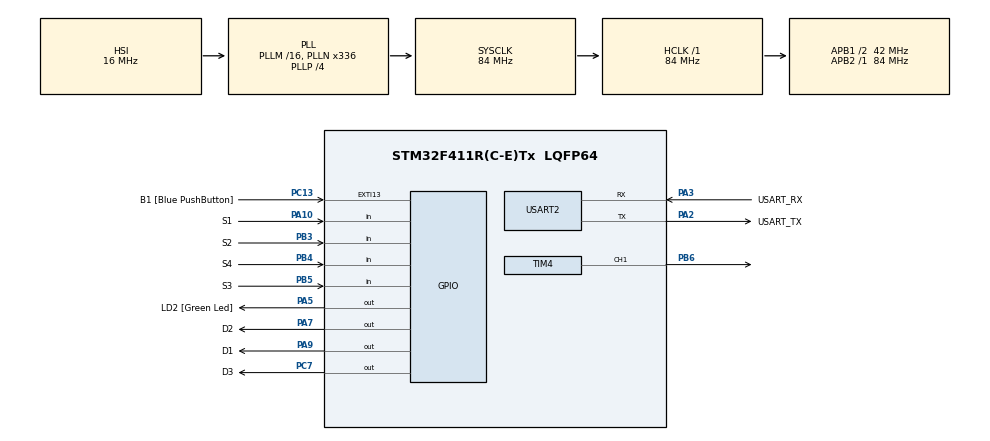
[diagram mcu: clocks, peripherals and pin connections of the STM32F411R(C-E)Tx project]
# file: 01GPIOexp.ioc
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Dma.Request0=TIM4_CH1
Dma.TIM4_CH1.0.Direction=DMA_MEMORY_TO_PERIPH
Dma.TIM4_CH1.0.FIFOMode=DMA_FIFOMODE_DISABLE
Dma.TIM4_CH1.0.Instance=DMA1_Stream0
Dma.TIM4_CH1.0.MemDataAlignment=DMA_MDATAALIGN_HALFWORD
Dma.TIM4_CH1.0.MemInc=DMA_MINC_ENABLE
Dma.TIM4_CH1.0.Mode=DMA_NORMAL
Dma.TIM4_CH1.0.PeriphDataAlignment=DMA_PDATAALIGN_HALFWORD
Dma.TIM4_CH1.0.PeriphInc=DMA_PINC_DISABLE
Dma.TIM4_CH1.0.Priority=DMA_PRIORITY_LOW
Mcu.Family=STM32F4
Mcu.Name=STM32F411R(C-E)Tx
Mcu.Package=LQFP64
NVIC.DMA1_Stream0_IRQn=true\:0\:0\:false\:false\:true\:false\:true
NVIC.PriorityGroup=NVIC_PRIORITYGROUP_0
PA10.GPIO_Label=S1
PA10.Signal=GPIO_Input
PA13.GPIO_Label=TMS
PA13.Mode=Serial_Wire
PA13.Signal=SYS_JTMS-SWDIO
PA14.GPIO_Label=TCK
PA14.Mode=Serial_Wire
PA14.Signal=SYS_JTCK-SWCLK
PA2.GPIO_Label=USART_TX
PA2.Mode=Asynchronous
PA2.Signal=USART2_TX
PA3.GPIO_Label=USART_RX
PA3.Mode=Asynchronous
PA3.Signal=USART2_RX
PA5.GPIO_Label=LD2 [Green Led]
PA5.Signal=GPIO_Output
PA7.GPIO_Label=D2
PA7.Signal=GPIO_Output
PA9.GPIO_Label=D1
PA9.Signal=GPIO_Output
PB3.GPIO_Label=S2
PB3.Signal=GPIO_Input
PB4.GPIO_Label=S4
PB4.Signal=GPIO_Input
PB5.GPIO_Label=S3
PB5.Signal=GPIO_Input
PB6.Signal=S_TIM4_CH1
PC13-ANTI_TAMP.GPIO_Label=B1 [Blue PushButton]
PC13-ANTI_TAMP.GPIO_ModeDefaultEXTI=GPIO_MODE_IT_FALLING
PC13-ANTI_TAMP.Signal=GPXTI13
PC14-OSC32_IN.Mode=LSE-External-Oscillator
PC14-OSC32_IN.Signal=RCC_OSC32_IN
PC15-OSC32_OUT.Mode=LSE-External-Oscillator
PC15-OSC32_OUT.Signal=RCC_OSC32_OUT
PC7.GPIO_Label=D3
PC7.Signal=GPIO_Output
PH0\ -\ OSC_IN.Mode=HSE-External-Clock-Source
PH0\ -\ OSC_IN.Signal=RCC_OSC_IN
PH1\ -\ OSC_OUT.Mode=HSE-External-Clock-Source
PH1\ -\ OSC_OUT.Signal=RCC_OSC_OUT
ProjectManager.HeapSize=0x200
ProjectManager.StackSize=0x400
ProjectManager.TargetToolchain=STM32CubeIDE
RCC.48MHZClocksFreq_Value=84000000
RCC.AHBFreq_Value=84000000
RCC.APB1CLKDivider=RCC_HCLK_DIV2
RCC.APB1Freq_Value=42000000
RCC.APB1TimFreq_Value=84000000
RCC.APB2Freq_Value=84000000
RCC.APB2TimFreq_Value=84000000
RCC.CortexFreq_Value=84000000
RCC.FLatency-AdvancedSettings=FLASH_LATENCY_2
RCC.HCLKFreq_Value=84000000
RCC.HSE_VALUE=8000000
RCC.HSI_VALUE=16000000
RCC.PLLN=336
RCC.PLLP=RCC_PLLP_DIV4
RCC.SYSCLKFreq_VALUE=84000000
RCC.SYSCLKSource=RCC_SYSCLKSOURCE_PLLCLK
RCC.VCOOutputFreq_Value=336000000
SH.S_TIM4_CH1.0=TIM4_CH1,PWM Generation1 CH1
TIM4.Channel-PWM\ Generation1\ CH1=TIM_CHANNEL_1
TIM4.Period=100-1
TIM4.Prescaler=72-1
USART2.VirtualMode=VM_ASYNC
VP_TIM4_VS_ClockSourceINT.Mode=Internal
board=NUCLEO-F411RE

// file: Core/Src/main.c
/* USER CODE BEGIN Header */
/**
 ******************************************************************************
 * @file           : main.c
 * @brief          : Main program body
 ******************************************************************************
 * @attention
 *
 * Copyright (c) 2022 STMicroelectronics.
 * All rights reserved.
 *
 * This software is licensed under terms that can be found in the LICENSE file
 * in the root directory of this software component.
 * If no LICENSE file comes with this software, it is provided AS-IS.
 *
 ******************************************************************************
 */
/* USER CODE END Header */
#include "main.h"

/* USER CODE BEGIN PTD */
GPIO_PinState B1state[2][4];

static int delay[4] = { 2000, 500, 500 };
static int logic2 = 0;
static int logic3 = 0;
static int count3 = 0;
static int count4 = 0;
static int pwm=100;
/* USER CODE END PTD */

TIM_HandleTypeDef htim4;
DMA_HandleTypeDef hdma_tim4_ch1;

UART_HandleTypeDef huart2;

void SystemClock_Config(void);
static void MX_GPIO_Init(void);
static void MX_USART2_UART_Init(void);
static void MX_DMA_Init(void);
static void MX_TIM4_Init(void);

int main(void)
{

  /* MCU Configuration--------------------------------------------------------*/

  /* Reset of all peripherals, Initializes the Flash interface and the Systick. */
  HAL_Init();

  /* Configure the system clock */
  SystemClock_Config();

  /* Initialize all configured peripherals */
  MX_GPIO_Init();
  MX_USART2_UART_Init();
  MX_DMA_Init();
  MX_TIM4_Init();

  /* Infinite loop */
  /* USER CODE BEGIN WHILE */
	for (int i = 0; i < 2; ++i) {
		for (int j = 0; j < 4; ++j) {
			B1state[i][j] = 0;
		}
	}
TIM4 -> CCR1=50;
HAL_TIM_PWM_Start(&htim4, TIM_CHANNEL_1);
//https://www.youtube.com/watch?v=OwlfFp8fPN0
	while (1) {

		static uint32_t timestamp[4] = { 0, 0, 0, 0 };
		B1state[0][0] = HAL_GPIO_ReadPin(S1_GPIO_Port, S1_Pin);
		B1state[0][1] = HAL_GPIO_ReadPin(S2_GPIO_Port, S2_Pin);
		B1state[0][2] = HAL_GPIO_ReadPin(S3_GPIO_Port, S3_Pin);
		B1state[0][3] = HAL_GPIO_ReadPin(S4_GPIO_Port, S4_Pin);

		if (B1state[1][0] == GPIO_PIN_SET && B1state[0][0] == GPIO_PIN_RESET) {
			if (delay[0] == 2000)
				delay[0] = 1000 / 1;
			else if (delay[0] == 1000)
				delay[0] = 500;
			else if (delay[0] == 500)
				delay[0] = 333;
			else if (delay[0] == 333)
				delay[0] = 2000;
		}
		if (B1state[1][1] == GPIO_PIN_SET && B1state[0][1] == GPIO_PIN_RESET) {
			logic2 = (logic2 + 1) %2;
		}
		if (B1state[1][2] == GPIO_PIN_SET && B1state[0][2] == GPIO_PIN_RESET) {
			logic3 = (logic3 + 1) %2;
		}
		if (B1state[1][3] == GPIO_PIN_SET && B1state[0][3] == GPIO_PIN_RESET) {
			pwm = (pwm + 25) %125;
		}

		if (HAL_GetTick() - timestamp[0] >= delay[0]) {
			HAL_GPIO_TogglePin(D1_GPIO_Port, D1_Pin);
			timestamp[0] = HAL_GetTick();
		}
		if (HAL_GetTick() - timestamp[1] >= delay[1] && logic2 == 0) {
			HAL_GPIO_TogglePin(D2_GPIO_Port, D2_Pin);
			timestamp[1] = HAL_GetTick();
		}
		if (HAL_GetTick() - timestamp[2] >= delay[2]) {
			if (count3 < 3)
				HAL_GPIO_WritePin(D3_GPIO_Port, D3_Pin, logic3);
			else
				HAL_GPIO_WritePin(D3_GPIO_Port, D3_Pin, !logic3);
			timestamp[2] = HAL_GetTick();
			count3 = (count3 + 1) % 4;
		}

		for (int j = 0; j < 4; ++j) {
			B1state[1][j] = B1state[0][j];
		}

		TIM4 -> CCR1=pwm;
		if (HAL_GetTick() - timestamp[3] >= 10) {
//			pwm=(pwm + 1)%100;
			timestamp[3] = HAL_GetTick();
		}

	}
    /* USER CODE END WHILE */

}

void SystemClock_Config(void)
{
  RCC_OscInitTypeDef RCC_OscInitStruct = {0};
  RCC_ClkInitTypeDef RCC_ClkInitStruct = {0};

  /** Configure the main internal regulator output voltage
  */
  __HAL_RCC_PWR_CLK_ENABLE();
  __HAL_PWR_VOLTAGESCALING_CONFIG(PWR_REGULATOR_VOLTAGE_SCALE1);
  /** Initializes the RCC Oscillators according to the specified parameters
  * in the RCC_OscInitTypeDef structure.
  */
  RCC_OscInitStruct.OscillatorType = RCC_OSCILLATORTYPE_HSI;
  RCC_OscInitStruct.HSIState = RCC_HSI_ON;
  RCC_OscInitStruct.HSICalibrationValue = RCC_HSICALIBRATION_DEFAULT;
  RCC_OscInitStruct.PLL.PLLState = RCC_PLL_ON;
  RCC_OscInitStruct.PLL.PLLSource = RCC_PLLSOURCE_HSI;
  RCC_OscInitStruct.PLL.PLLM = 16;
  RCC_OscInitStruct.PLL.PLLN = 336;
  RCC_OscInitStruct.PLL.PLLP = RCC_PLLP_DIV4;
  RCC_OscInitStruct.PLL.PLLQ = 4;
  if (HAL_RCC_OscConfig(&RCC_OscInitStruct) != HAL_OK)
  {
    Error_Handler();
  }
  /** Initializes the CPU, AHB and APB buses clocks
  */
  RCC_ClkInitStruct.ClockType = RCC_CLOCKTYPE_HCLK|RCC_CLOCKTYPE_SYSCLK
                              |RCC_CLOCKTYPE_PCLK1|RCC_CLOCKTYPE_PCLK2;
  RCC_ClkInitStruct.SYSCLKSource = RCC_SYSCLKSOURCE_PLLCLK;
  RCC_ClkInitStruct.AHBCLKDivider = RCC_SYSCLK_DIV1;
  RCC_ClkInitStruct.APB1CLKDivider = RCC_HCLK_DIV2;
  RCC_ClkInitStruct.APB2CLKDivider = RCC_HCLK_DIV1;

  if (HAL_RCC_ClockConfig(&RCC_ClkInitStruct, FLASH_LATENCY_2) != HAL_OK)
  {
    Error_Handler();
  }
}

static void MX_TIM4_Init(void)
{

  TIM_ClockConfigTypeDef sClockSourceConfig = {0};
  TIM_MasterConfigTypeDef sMasterConfig = {0};
  TIM_OC_InitTypeDef sConfigOC = {0};

  htim4.Instance = TIM4;
  htim4.Init.Prescaler = 72-1;
  htim4.Init.CounterMode = TIM_COUNTERMODE_UP;
  htim4.Init.Period = 100-1;
  htim4.Init.ClockDivision = TIM_CLOCKDIVISION_DIV1;
  htim4.Init.AutoReloadPreload = TIM_AUTORELOAD_PRELOAD_DISABLE;
  if (HAL_TIM_Base_Init(&htim4) != HAL_OK)
  {
    Error_Handler();
  }
  sClockSourceConfig.ClockSource = TIM_CLOCKSOURCE_INTERNAL;
  if (HAL_TIM_ConfigClockSource(&htim4, &sClockSourceConfig) != HAL_OK)
  {
    Error_Handler();
  }
  if (HAL_TIM_PWM_Init(&htim4) != HAL_OK)
  {
    Error_Handler();
  }
  sMasterConfig.MasterOutputTrigger = TIM_TRGO_RESET;
  sMasterConfig.MasterSlaveMode = TIM_MASTERSLAVEMODE_DISABLE;
  if (HAL_TIMEx_MasterConfigSynchronization(&htim4, &sMasterConfig) != HAL_OK)
  {
    Error_Handler();
  }
  sConfigOC.OCMode = TIM_OCMODE_PWM1;
  sConfigOC.Pulse = 0;
  sConfigOC.OCPolarity = TIM_OCPOLARITY_HIGH;
  sConfigOC.OCFastMode = TIM_OCFAST_DISABLE;
  if (HAL_TIM_PWM_ConfigChannel(&htim4, &sConfigOC, TIM_CHANNEL_1) != HAL_OK)
  {
    Error_Handler();
  }
  HAL_TIM_MspPostInit(&htim4);

}

static void MX_USART2_UART_Init(void)
{

  huart2.Instance = USART2;
  huart2.Init.BaudRate = 115200;
  huart2.Init.WordLength = UART_WORDLENGTH_8B;
  huart2.Init.StopBits = UART_STOPBITS_1;
  huart2.Init.Parity = UART_PARITY_NONE;
  huart2.Init.Mode = UART_MODE_TX_RX;
  huart2.Init.HwFlowCtl = UART_HWCONTROL_NONE;
  huart2.Init.OverSampling = UART_OVERSAMPLING_16;
  if (HAL_UART_Init(&huart2) != HAL_OK)
  {
    Error_Handler();
  }

}

static void MX_DMA_Init(void)
{

  /* DMA controller clock enable */
  __HAL_RCC_DMA1_CLK_ENABLE();

  /* DMA interrupt init */
  /* DMA1_Stream0_IRQn interrupt configuration */
  HAL_NVIC_SetPriority(DMA1_Stream0_IRQn, 0, 0);
  HAL_NVIC_EnableIRQ(DMA1_Stream0_IRQn);

}

static void MX_GPIO_Init(void)
{
  GPIO_InitTypeDef GPIO_InitStruct = {0};

  /* GPIO Ports Clock Enable */
  __HAL_RCC_GPIOC_CLK_ENABLE();
  __HAL_RCC_GPIOH_CLK_ENABLE();
  __HAL_RCC_GPIOA_CLK_ENABLE();
  __HAL_RCC_GPIOB_CLK_ENABLE();

  /*Configure GPIO pin Output Level */
  HAL_GPIO_WritePin(GPIOA, LD2_Pin|D2_Pin|D1_Pin, GPIO_PIN_RESET);

  /*Configure GPIO pin Output Level */
  HAL_GPIO_WritePin(D3_GPIO_Port, D3_Pin, GPIO_PIN_RESET);

  /*Configure GPIO pin : B1_Pin */
  GPIO_InitStruct.Pin = B1_Pin;
  GPIO_InitStruct.Mode = GPIO_MODE_IT_FALLING;
  GPIO_InitStruct.Pull = GPIO_NOPULL;
  HAL_GPIO_Init(B1_GPIO_Port, &GPIO_InitStruct);

  /*Configure GPIO pins : LD2_Pin D2_Pin D1_Pin */
  GPIO_InitStruct.Pin = LD2_Pin|D2_Pin|D1_Pin;
  GPIO_InitStruct.Mode = GPIO_MODE_OUTPUT_PP;
  GPIO_InitStruct.Pull = GPIO_NOPULL;
  GPIO_InitStruct.Speed = GPIO_SPEED_FREQ_LOW;
  HAL_GPIO_Init(GPIOA, &GPIO_InitStruct);

  /*Configure GPIO pin : D3_Pin */
  GPIO_InitStruct.Pin = D3_Pin;
  GPIO_InitStruct.Mode = GPIO_MODE_OUTPUT_PP;
  GPIO_InitStruct.Pull = GPIO_NOPULL;
  GPIO_InitStruct.Speed = GPIO_SPEED_FREQ_LOW;
  HAL_GPIO_Init(D3_GPIO_Port, &GPIO_InitStruct);

  /*Configure GPIO pin : S1_Pin */
  GPIO_InitStruct.Pin = S1_Pin;
  GPIO_InitStruct.Mode = GPIO_MODE_INPUT;
  GPIO_InitStruct.Pull = GPIO_NOPULL;
  HAL_GPIO_Init(S1_GPIO_Port, &GPIO_InitStruct);

  /*Configure GPIO pins : S2_Pin S4_Pin S3_Pin */
  GPIO_InitStruct.Pin = S2_Pin|S4_Pin|S3_Pin;
  GPIO_InitStruct.Mode = GPIO_MODE_INPUT;
  GPIO_InitStruct.Pull = GPIO_NOPULL;
  HAL_GPIO_Init(GPIOB, &GPIO_InitStruct);

}

void Error_Handler(void)
{
	__disable_irq();
	while (1) {
	}
}
